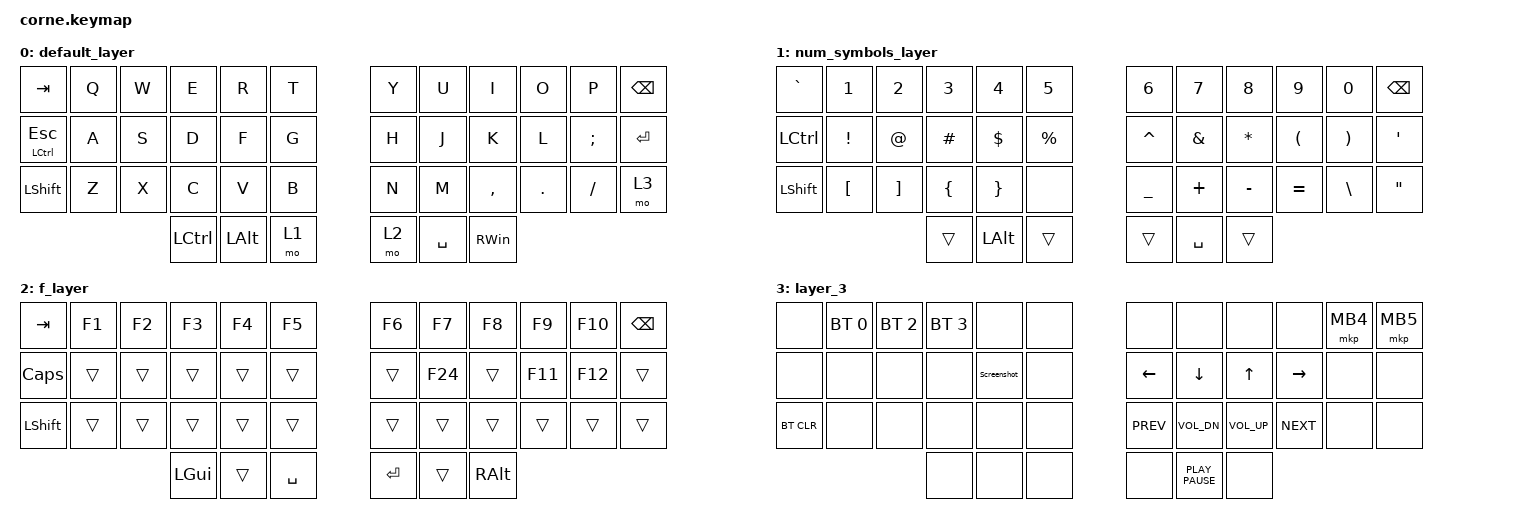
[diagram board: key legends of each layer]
/*
 * Copyright (c) 2020 The ZMK Contributors
 *
 * SPDX-License-Identifier: MIT
 */

#include <behaviors.dtsi>
#include <dt-bindings/zmk/bt.h>
#include <dt-bindings/zmk/keys.h>
#include <dt-bindings/zmk/pointing.h>

/ {
    macros {
        Screenshot: Screenshot {
            compatible = "zmk,behavior-macro";
            label = "SCREENSHOT";
            #binding-cells = <0>;
            bindings = <&kp LG(LA(LS(NUMBER_4)))>;
        };
    };

    behaviors {
        hold_tap: hold_tap {
            compatible = "zmk,behavior-hold-tap";
            label = "HOLD_TAP";
            bindings = <&kp>, <&kp>;

            #binding-cells = <2>;
            tapping-term-ms = <100>;
            retro-tap;
        };
    };

    keymap {
        compatible = "zmk,keymap";

        default_layer {
            // -----------------------------------------------------------------------------------------
            // |  TAB |  Q  |  W  |  E  |  R  |  T  |   |  Y  |  U  |  I  |  O  |  P  | BKSP |
            // | ESC  |  A  |  S  |  D  |  F  |  G  |   |  H  |  J  |  K  |  L  |  ;  |  '   |
            // | SHFT |  Z  |  X  |  C  |  V  |  B  |   |  N  |  M  |  ,  |  .  |  /  |  L3  |
            //                    | GUI | LWR | SPC |   | ENT | RSE | ALT |

            bindings = <
&kp TAB                 &kp Q  &kp W  &kp E      &kp R     &kp T    &kp Y  &kp U      &kp I      &kp O    &kp P     &kp BSPC
&hold_tap LCTRL ESCAPE  &kp A  &kp S  &kp D      &kp F     &kp G    &kp H  &kp J      &kp K      &kp L    &kp SEMI  &kp ENTER
&kp LSHFT               &kp Z  &kp X  &kp C      &kp V     &kp B    &kp N  &kp M      &kp COMMA  &kp DOT  &kp FSLH  &mo 3
                                      &kp LCTRL  &kp LALT  &mo 1    &mo 2  &kp SPACE  &kp RWIN
            >;
        };

        num_symbols_layer {
            // -----------------------------------------------------------------------------------------
            // | Grave |  1  |  2  |  3  |  4  |  5  |   |  6  |  7  |  8  |  9  |  0  | BKSP |
            // | LCTL  |  !  |  @  |  #  |  $  |  %  |   |  ^  |  &  |  *  |  (  |  )  |  '   |
            // | SHFT  |  [  |  ]  |  {  |  }  |     |   |  _  |  +  |  -  |  =  |  \  |  "   | 
            //                    |     |  ALT  |    |   |     |     | |

            bindings = <
&kp GRAVE  &kp N1    &kp N2    &kp N3    &kp N4    &kp N5       &kp N6     &kp N7     &kp N8     &kp N9     &kp N0    &kp BSPC
&kp LCTRL  &kp EXCL  &kp AT    &kp HASH  &kp DLLR  &kp PRCNT    &kp CARET  &kp AMPS   &kp STAR   &kp LPAR   &kp RPAR  &kp SQT
&kp LSHFT  &kp LBKT  &kp RBKT  &kp LBRC  &kp RBRC  &none        &kp UNDER  &kp PLUS   &kp MINUS  &kp EQUAL  &kp BSLH  &kp DQT
                               &trans    &kp LALT  &trans       &trans     &kp SPACE  &trans
            >;
        };

        f_layer {
            // -----------------------------------------------------------------------------------------
            // |  TAB | F1  | F2  | F3  | F4  | F5  |   | F6  | F7  | F8  | F9  | F10 | BKSP |
            // | CTRL |     |     |     |     |     |   |     | F24 |     | F11 | F12 |      |
            // | SHFT |     |     |     |     |     |   |     |     |     |     |     |      |
            //                    | GUI |     | SPC |   | ENT |     | ALT |

            bindings = <
&kp TAB     &kp F1  &kp F2  &kp F3    &kp F4  &kp F5       &kp F6   &kp F7   &kp F8    &kp F9   &kp F10  &kp BSPC
&kp CAPS    &trans  &trans  &trans    &trans  &trans       &trans   &kp F24  &trans    &kp F11  &kp F12  &trans
&kp LSHIFT  &trans  &trans  &trans    &trans  &trans       &trans   &trans   &trans    &trans   &trans   &trans
                            &kp LGUI  &trans  &kp SPACE    &kp RET  &trans   &kp RALT
            >;
        };

        layer_3 {
            bindings = <
&none       &bt BT_SEL 0  &bt BT_SEL 2  &bt BT_SEL 3  &none        &none    &none       &none             &none         &none       &mkp MB4  &mkp MB5
&none       &none         &none         &none         &Screenshot  &none    &kp LEFT    &kp DOWN          &kp UP        &kp RIGHT   &none     &none
&bt BT_CLR  &none         &none         &none         &none        &none    &kp K_PREV  &kp C_VOL_DN      &kp C_VOL_UP  &kp K_NEXT  &none     &none
                                        &none         &none        &none    &none       &kp K_PLAY_PAUSE  &none
            >;
        };
    };
};
